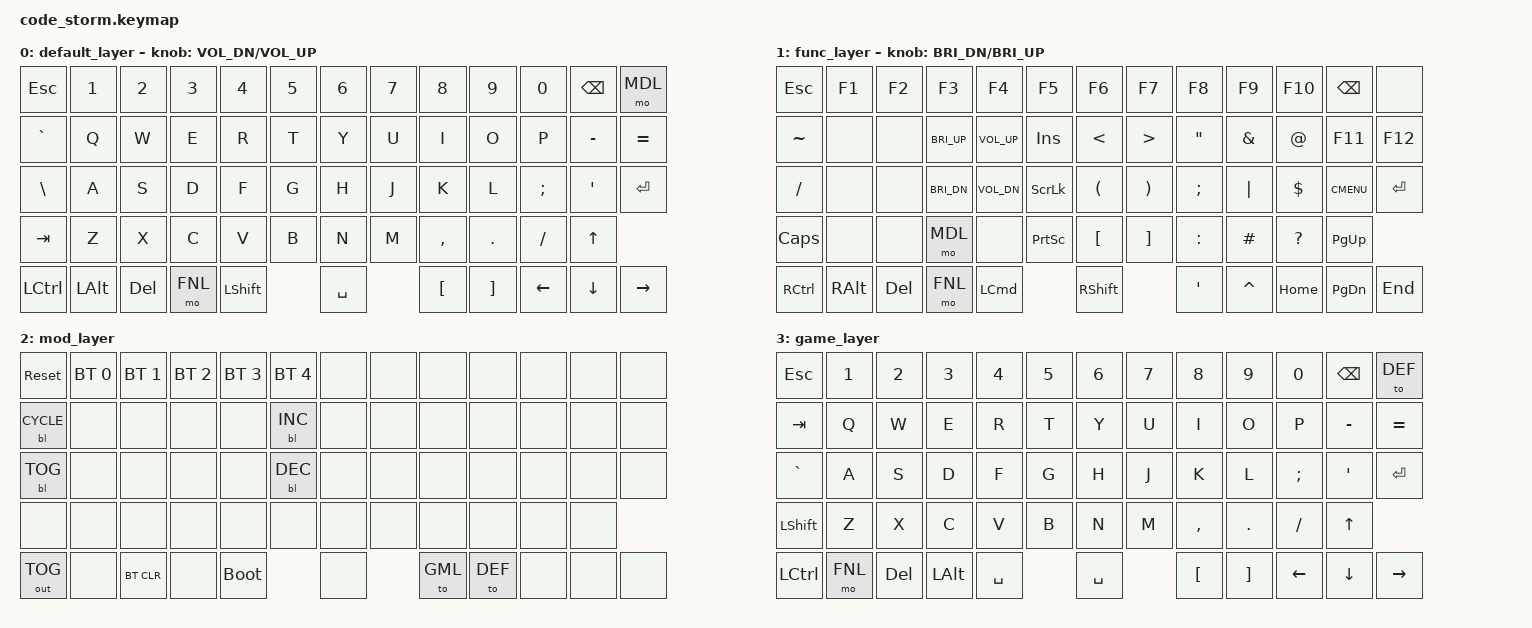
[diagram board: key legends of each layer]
/*
 * Copyright (c) 2022 The ZMK Contributors
 *
 * SPDX-License-Identifier: MIT
 */

#include <behaviors.dtsi>
#include <dt-bindings/zmk/keys.h>
#include <dt-bindings/zmk/bt.h>
#include <dt-bindings/zmk/backlight.h>
#include <dt-bindings/zmk/outputs.h>

#define DEF 0
#define FNL 1
#define MDL 2
#define GML 3

&lt { quick_tap_ms = <300>; };
&mt { quick_tap_ms = <300>; };

/ {

    keymap {
        compatible = "zmk,keymap";

        default_layer {
// ----------------------------------------------------------------------------------------------------------------------------------------------
// |   ESC   |    1    |    2    |    3    |    4    |    5    |       |    6    |    7    |    8    |    9    |    0    |     BACKSPACE     |   | MOD |
// |    ~    |    Q    |    W    |    E    |    R    |    T    |       |    Y    |    U    |    I    |    O    |    P    |    -    |    =    |
// |    \    |    A    |    S    |    D    |    F    |    G    |       |    H    |    J    |    K    |    L    |    ;    |    '    | EN-TER  |
// |   TAB   |    Z    |    X    |    C    |    V    |    B    |       |    N    |    M    |    ,    |    .    |    /    |    UP   |_________|
// |  LCTRL  |  LALT   |   DEL   |    FN   |       LSHIFT      |       |       SPACE       |    [    |    ]    |   LEFT  |   DOWN  |  RIGHT  |

            bindings = <
    &kp ESC    &kp N1    &kp N2    &kp N3    &kp N4    &kp N5            &kp N6     &kp N7  &kp N8     &kp N9    &kp N0           &kp BSPC       &mo MDL     
    &kp GRAVE  &kp Q     &kp W     &kp E     &kp R     &kp T             &kp Y      &kp U   &kp I      &kp O     &kp P      &kp MINUS  &kp EQUAL
    &kp BSLH   &kp A     &kp S     &kp D     &kp F     &kp G             &kp H      &kp J   &kp K      &kp L     &kp SEMI   &kp SQT    &kp ENTER 
    &kp TAB    &kp Z     &kp X     &kp C     &kp V     &kp B             &kp N      &kp M   &kp COMMA  &kp DOT   &kp FSLH   &kp UP
    &kp LCTRL  &kp LALT  &kp DEL   &mo FNL      &kp LSHIFT                   &kp SPACE    &kp LBKT   &kp RBKT  &kp LEFT   &kp DOWN   &kp RIGHT	
	>;
	
    sensor-bindings = <&inc_dec_kp C_VOL_DN C_VOL_UP>;
        };
		
		
		
		func_layer {
// ----------------------------------------------------------------------------------------------------------------------------------------------
// |   LOCK  |    F1   |    F2   |    F3   |    F4   |    F5   |       |    F6   |    F7   |    F8   |    F9   |   F10   |     BACKSPACE     |   |  |
// |    ~    |         |         |C_BRI_UP |C_VOL_UP |  INS    |       |    <    |    >    |    "    |    &    |    @    |   F11   |   F12   |
// |    /    |         |         |C_BRI_DN |C_VOL_DN |  ScrLk  |       |    (    |    )    |    ;    |    |    |    $    | K_CMENU | EN-TER  |
// |   CAPS  |         |         |         |         |  PrScr  |       |    [    |    ]    |    :    |    #    |    ?    |  PG_UP  |_________|
// |  RCTRL  |  RALT   |   DEL   |    FN   |       CMD(s)      |       |       RSHIFT      |    '    |    ^    |   HOME  | PG_DOWN |   END   |

            bindings = <
    &kp ESC    &kp F1    &kp F2   &kp F3        &kp F4        &kp F5            &kp F6    &kp F7    &kp F8         &kp F9    &kp F10       &kp BSPC            &none     
    &kp TILDE  &none     &none    &kp C_BRI_UP  &kp C_VOL_UP  &kp INS           &kp LT    &kp GT    &kp DQT        &kp AMPS  &kp AT     &kp F11       &kp F12
    &kp FSLH   &none     &none    &kp C_BRI_DN  &kp C_VOL_DN  &kp SLCK          &kp LPAR  &kp RPAR  &kp SEMI       &kp PIPE  &kp DLLR   &kp K_CMENU   &kp ENTER 
    &kp CAPS   &none     &none    &mo MDL       &none         &kp PSCRN         &kp LBKT  &kp RBKT  &kp COLON      &kp HASH  &kp QMARK  &kp PG_UP 
    &kp RCTRL  &kp RALT  &kp DEL  &mo FNL              &kp LCMD                     &kp RSHIFT      &kp SQT        &kp CARET &kp HOME   &kp PG_DN     &kp END	
	>;

    sensor-bindings = <&inc_dec_kp C_BRI_DN C_BRI_UP>;
        };
		
		mod_layer {
// ----------------------------------------------------------------------------------------------------------------------------------------------
// |  RESET  |   BT1   |   BT2   |   BT3   |   BT4   |    BT5  |       |         |         |         |         |         |                   |   | MOD |
// |BL_CYCLE |         |         |         |         |  BL_INC |       |         |         |         |         |         |         |         |
// |BL_TOG   |         |         |         |         |  BL_DEC |       |         |         |         |         |         |         |         |
// |         |         |         |         |         |         |       |         |         |         |         |         |         |_________|
// |  tg_out |         | BT_CLR  |         |      BOOTLDR      |       |                   |         |         |         |         |         |

            bindings = <
    &sys_reset       &bt BT_SEL 0  &bt BT_SEL 1  &bt BT_SEL 2  &bt BT_SEL 3  &bt BT_SEL 4            &none &none  &none    &none    &none    &none      &none     
    &bl BL_CYCLE &none         &none         &none         &none         &bl BL_INC              &none &none  &none    &none    &none &none &none  
    &bl BL_TOG   &none         &none         &none         &none         &bl BL_DEC              &none &none  &none    &none    &none &none &none  
    &none        &none         &none         &none         &none         &none                   &none &none  &none    &none    &none &none  
  &out OUT_TOG   &none         &bt BT_CLR    &none             &bootloader                        &none     &to GML  &to DEF  &none &none &none  	
	>;

//   sensor-bindings = <&inc_dec_krp C_VOL_UP C_VOL_DN>;
        };
		
        game_layer {
// ----------------------------------------------------------------------------------------------------------------------------------------------
// |   ESC   |    1    |    2    |    3    |    4    |    5    |       |    6    |    7    |    8    |    9    |    0    |     BACKSPACE     |   | MOD |
// |    ~    |    Q    |    W    |    E    |    R    |    T    |       |    Y    |    U    |    I    |    O    |    P    |    -    |    =    |
// |   TAB   |    A    |    S    |    D    |    F    |    G    |       |    H    |    J    |    K    |    L    |    ;    |    '    | EN-TER  |
// |  LSHIFT |    Z    |    X    |    C    |    V    |    B    |       |    N    |    M    |    ,    |    .    |    /    |    UP   |_________|
// |  LCTRL  |   FN    |   DEL   |   LALT  |       SPACE       |       |       SPACE       |    [    |    ]    |   LEFT  |   DOWN  |  RIGHT  |

            bindings = <
    &kp ESC     &kp N1    &kp N2    &kp N3    &kp N4    &kp N5            &kp N6     &kp N7  &kp N8     &kp N9    &kp N0           &kp BSPC       &to DEF     
    &kp TAB     &kp Q     &kp W     &kp E     &kp R     &kp T             &kp Y      &kp U   &kp I      &kp O     &kp P      &kp MINUS  &kp EQUAL
    &kp GRAVE   &kp A     &kp S     &kp D     &kp F     &kp G             &kp H      &kp J   &kp K      &kp L     &kp SEMI   &kp SQT    &kp ENTER 
    &kp LSHIFT  &kp Z     &kp X     &kp C     &kp V     &kp B             &kp N      &kp M   &kp COMMA  &kp DOT   &kp FSLH   &kp UP
    &kp LCTRL   &mo FNL   &kp DEL   &kp LALT      &kp SPACE                   &kp SPACE      &kp LBKT   &kp RBKT  &kp LEFT   &kp DOWN   &kp RIGHT	
	>;
	
//    sensor-bindings = <&inc_dec_kp C_VOL_DN C_VOL_UP>;
        };
    };
};
